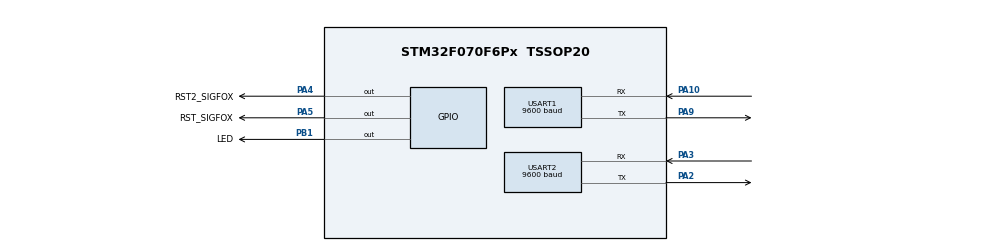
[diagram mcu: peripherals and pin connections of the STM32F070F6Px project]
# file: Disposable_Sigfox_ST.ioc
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FREERTOS.INCLUDE_vTaskDelayUntil=1
FREERTOS.Tasks01=defaultTask,0,128,StartDefaultTask,Default,NULL
Mcu.Family=STM32F0
Mcu.Name=STM32F070F6Px
Mcu.Package=TSSOP20
NVIC.RTC_IRQn=true\:3\:0\:false\:false\:true\:true\:true
NVIC.USART1_IRQn=true\:3\:0\:false\:false\:true\:true\:true
PA0.Mode=SYS_WakeUp0
PA0.Signal=SYS_WKUP1
PA10.Mode=Asynchronous
PA10.Signal=USART1_RX
PA2.Mode=Asynchronous
PA2.Signal=USART2_TX
PA3.Mode=Asynchronous
PA3.Signal=USART2_RX
PA4.GPIO_Label=RST2_SIGFOX
PA4.PinState=GPIO_PIN_SET
PA4.Signal=GPIO_Output
PA5.GPIO_Label=RST_SIGFOX
PA5.PinState=GPIO_PIN_SET
PA5.Signal=GPIO_Output
PA9.Mode=Asynchronous
PA9.Signal=USART1_TX
PB1.GPIO_Label=LED
PB1.Signal=GPIO_Output
ProjectManager.HeapSize=0x200
ProjectManager.StackSize=0x400
ProjectManager.TargetToolchain=TrueSTUDIO
RTC.Alarm=RTC_ALARM_A
RTC.AsynchPrediv=78
RTC.Hours_A=20
RTC.SynchPrediv=467
USART1.BaudRate=9600
USART1.VirtualMode=VM_ASYNC
USART2.BaudRate=9600
USART2.VirtualMode-Asynchronous=VM_ASYNC
VP_FREERTOS_VS_ENABLE.Mode=Enabled
VP_RTC_VS_RTC_Activate.Mode=RTC_Enabled
VP_RTC_VS_RTC_Alarm_A_Intern.Mode=Alarm A
VP_RTC_VS_RTC_Calendar.Mode=RTC_Calendar
board=custom

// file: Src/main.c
/* USER CODE BEGIN Header */
/**
 * @brief  Function implementing the defaultTask thread.
 * @param  argument: Not used
 * @retval None
 */
/* USER CODE END Header */

#include "main.h"
#include "cmsis_os.h"
#include <Common/Globals.h>

#define TIME_DELAY_MS_SEMAPHORE		200/portTICK_RATE_MS

osThreadId defaultTaskHandle;

/* USER CODE BEGIN 0 */
void TaskFSM( void* taskParmPtr);
void TaskDL_DecoFrame ( void* taskParmPtr);
void TaskTxUart ( void* taskParmPtr);
typedef char Stringtx[32];  /*Tipo de Dato para La cola */
/* USER CODE END 0 */

int main(void)
{

	HAL_Init();
	/* Configure the system clock */
	SystemClock_Config();

	/* USER CODE BEGIN 2 */
	MX_GPIO_Init();   		 /*Inicializo GPIO STM32*/
	MX_RTC_Init();   		 /*Inicializo tiempos del RTC para despertar por tiempos ->> ReportTimeSecond*/
	MX_USART1_UART_Init();	  /*Iincializo Uart1 para Sigfox , 9600 baudios*/
	MX_USART2_UART_Init();   /*Iincializo Uart2 para Debug, 9600 baudios*/
	HAL_UART_Receive_IT(&huart1,(uint8_t *)&UART_RX.Data,USART_RX_AMOUNT_BYTES);

	/*ANTIREBOTE 40 ms*/
	Debounce_Init(&Fsm_DebounceData,40, PULL_DOWN);

	/*Task Create*/

	/*Tarea para la maquina de estados, envia la secuencia de comandos*/
	xTaskCreate(TaskFSM, (const char *)"TaskFSM",configMINIMAL_STACK_SIZE*2, NULL, tskIDLE_PRIORITY + 1, NULL);

	/*Tarea para transmitir por la Uart*/
	xTaskCreate(TaskTxUart, (const char *)"TaskTxUart",configMINIMAL_STACK_SIZE*2, NULL, tskIDLE_PRIORITY + 1, NULL);

	/*Tarea para decodificar el mensaje de bajada de sigfox*/
	xTaskCreate(TaskDL_DecoFrame, (const char *)"DecoFrame",configMINIMAL_STACK_SIZE*2, NULL, tskIDLE_PRIORITY + 1, &xTaskHandle_DL_RxNotify);

	/* Configure the sigfox library  */
	SigfoxModule.StatusFlag = SigfoxInit(&SigfoxModule, RSTCtrl_Sigfox, RST2Ctrl_Sigfox, UART_SIGFOX_TX_STM, UART_SIGFOX_RX_STM ,UL_RCZ4, DiscrimateFrameType);

	/*Despierto modulo Wisol*/
	SigfoxWakeUP(&SigfoxModule);

	/*habilitar salir del modo debajo consumo con interrupción en PA0*/
	HAL_PWR_EnableWakeUpPin(PWR_WAKEUP_PIN1);

	/* USER CODE BEGIN RTOS_SEMAPHORES */

	/*Semaforo binario para sincronización por Uart*/
	SemTxUart = xSemaphoreCreateBinary();

	/*Semaforo binario para sincronización  entre maquina de estados y respuesta de cada comando*/
	SemFSM = xSemaphoreCreateBinary();

	/*Semaforo mutex para proteger la escritura de la uart desde otras tareas*/
	SemUart = xSemaphoreCreateMutex();
	/* USER CODE END RTOS_SEMAPHORES */

	/* USER CODE BEGIN RTOS_QUEUES */
	/*Cola para transferir datos entre FSM y UArt*/
	xQueueTx = xQueueCreate(1 , sizeof(Stringtx));
	/* USER CODE END RTOS_QUEUES */

	/* Start scheduler */
	vTaskStartScheduler();

	while (1){ }
}

/* USER CODE BEGIN 4 */
/*===============================================================================================
									Tarea maquina de estados
  ===============================================================================================*/
void TaskFSM( void* taskParmPtr){

	static uint8_t state = STATE_SIGFOXINIT;
	static uint8_t FlagEnd = 0;

	char  x[32] ="AT\r" ;
	/*Downlink modificar en 1 si quiere pedir un mensaje de bajada, tiempo de espera alrededor de 45s*/
	static uint8_t DowlinkAux = 0 ;
	for(;;){

		if(state == STATE_SLEEP  ){
			FlagEnd = 1;
			/*Retardo para el led de transmisión, ya que es muy rapido*/
			vTaskDelay(3000/ portTICK_RATE_MS);
			/*Bajo consumo UART DEBUG*/
			UartprotectedMutex(&huart2,SemUart,(uint8_t*)"Sleep\r\n");

			/*Led Azul, indicador de transmisión de mensaje*/
			HAL_GPIO_WritePin(GPIOC,GPIO_PIN_8,GPIO_PIN_RESET);

			/*Entra en modo de bajo consumo*/
			RTC_WakeUp_Clear_Flag(&hrtc);
			Standby_Mode_Entry();
			UartprotectedMutex(&huart2,SemUart,(uint8_t*)"Si paso esto el uC no entro en modo Sleep");
		}
		/*Si el mensaje No ha salido Envio datos Por la cola  ala Uart de SIgfox*/
		if(!FlagEnd){
			if(pdTRUE != xQueueSend(xQueueTx , &x,portMAX_DELAY) ){ 	/*Fail send to queue*/	}
			/*Libero el semaforo para que TaskReceiveUart reciba el dato por la  cola xQueueTx*/
			xSemaphoreGive(SemTxUart);
		}

		/*Se libera Semaphore cuando llega un mensaje por Interrupción por  uart*/
		if( pdTRUE == xSemaphoreTake(SemFSM,portMAX_DELAY) ){
			/*Maquina de estados  UPLINK SIGFOX*/
			state = FSM_Send_Command(state, &FlagEnd,&DowlinkAux,x);
			/*Permite llenar el buffer de nuevoCuando Llega \r la llego una trama, entonces RxReady = 1*/
			SigfoxModule.RxReady = 0;
		}
	}
}

/*===============================================================================================
									Tarea Decodificar trama de Downlink Sigfox
  ===============================================================================================*/
void TaskDL_DecoFrame ( void* taskParmPtr){
	for(;;){
		xTaskNotifyWait(0,0,NULL,portMAX_DELAY);
		if(DL_TIME_OK == DL_DiscriminateDownLink(&SigfoxModule)){
			/* tIEMPO DE SALIDA  ON CON DOWNLINK*/
			vTaskDelay(10000/ portTICK_RATE_MS);
			UartprotectedMutex(&huart2,SemUart,(uint8_t*)"Sleep\r\n");

			/*Entro en modo de bajo consumo*/
			RTC_WakeUp_Clear_Flag(&hrtc);
			Standby_Mode_Entry();
			UartprotectedMutex(&huart2,SemUart,(uint8_t*)"Si paso esto el uC no entro en modo Sleep\r\n");
		}
		else{
			UartprotectedMutex(&huart2,SemUart, (uint8_t*)"Downlink Timeout  or Non Downlink \r\n");
			/*Entro en modo de bajo consumo, si la trama de Downlink esta mal*/
			RTC_WakeUp_Clear_Flag(&hrtc);
			Standby_Mode_Entry();
		}
	}
}

/*===============================================================================================
							Tarea Transmitir por UART al modulo  Wisol SIGFOX
  ===============================================================================================*/
void TaskTxUart ( void* taskParmPtr){
	char RxQueue[32] ={ 0};
	for(;;){
		/*Tomo semaforo, lo libera cuando se llega mensaje por uart int*/
		if( pdTRUE == xSemaphoreTake(SemTxUart,portMAX_DELAY) ){
			if( pdTRUE == xQueueReceive(xQueueTx , &RxQueue,1000) ){
				UartprotectedMutex(&huart2,SemUart,(uint8_t*)RxQueue);
				UartprotectedMutex(&huart1,SemUart,(uint8_t*)RxQueue);
			};
		}
	} /*End For*/
} /*End Task*/

/* USER CODE END 4 */
void Error_Handler(void)
{
}

/************************ (C) COPYRIGHT STMicroelectronics *****END OF FILE****/
